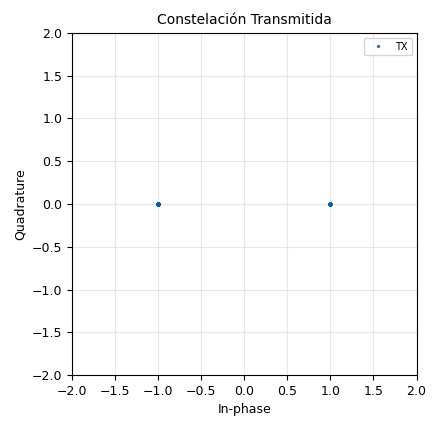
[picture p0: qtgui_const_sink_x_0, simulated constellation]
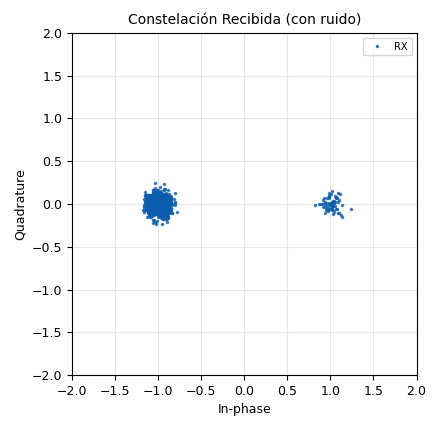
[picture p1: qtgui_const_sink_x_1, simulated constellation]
options:
  parameters:
    author: Diego Banda, Benjamin Polanco, Sebastian Gulfo
    comment: 'Laboratorio 4: BER en señalización de banda base - BPSK, QPSK, 8-PSK'
    description: Sistema para medir BER en modulaciones PSK con canal AWGN
    generate_options: qt_gui
    id: top_block
    output_language: python
    title: Laboratorio 4 - BER en Modulaciones PSK
  states: {}

blocks:
- name: samp_rate
  id: variable
  parameters:
    comment: Tasa de muestreo del sistema
    value: '32000'
  states: {}
- name: modulation_type
  id: variable_qtgui_chooser
  parameters:
    comment: Selector de tipo de modulación
    gui_hint: 0,0,1,1
    label: Tipo de Modulación
    label0: BPSK
    label1: QPSK
    label2: 8-PSK
    option0: '0'
    option1: '1'
    option2: '2'
    type: int
    value: '0'
  states: {}
- name: noise_voltage
  id: variable_qtgui_range
  parameters:
    comment: Control de amplitud de ruido para variar Eb/N0
    gui_hint: 0,1,1,1
    label: Amplitud de Ruido (Eb/N0 control)
    min: '0.001'
    max: '1.0'
    num_steps: '1000'
    style: slider
    value: '0.1'
  states: {}
- name: constellation_bpsk
  id: variable_constellation
  parameters:
    comment: Constelación BPSK
    const_points: '[-1, 1]'
    dims: '1'
    normalization: digital.constellation.AMPLITUDE_NORMALIZATION
    precision: '8'
    rot_sym: '2'
    sym_map: '[0, 1]'
  states: {}
- name: constellation_qpsk
  id: variable_constellation
  parameters:
    comment: Constelación QPSK con codificación Gray
    const_points: '[1+1j, -1+1j, -1-1j, 1-1j]'
    dims: '1'
    normalization: digital.constellation.AMPLITUDE_NORMALIZATION
    precision: '8'
    rot_sym: '4'
    sym_map: '[0, 1, 3, 2]'
  states: {}
- name: constellation_8psk
  id: variable_constellation
  parameters:
    comment: Constelación 8-PSK con codificación Gray
    const_points: '[1, 0.707+0.707j, 1j, -0.707+0.707j, -1, -0.707-0.707j, -1j, 0.707-0.707j]'
    dims: '1'
    normalization: digital.constellation.AMPLITUDE_NORMALIZATION
    precision: '8'
    rot_sym: '8'
    sym_map: '[0, 1, 3, 2, 6, 7, 5, 4]'
  states: {}
- name: constellation_selector
  id: variable
  parameters:
    comment: Selector automático de constelación basado en modulation_type
    value: constellation_bpsk if modulation_type == 0 else (constellation_qpsk if modulation_type == 1 else constellation_8psk)
  states: {}
- name: bits_per_symbol
  id: variable
  parameters:
    comment: Bits por símbolo según la modulación
    value: 1 if modulation_type == 0 else (2 if modulation_type == 1 else 3)
  states: {}
- name: arity
  id: variable
  parameters:
    comment: Aridad de la constelación (número de símbolos)
    value: 2 if modulation_type == 0 else (4 if modulation_type == 1 else 8)
  states: {}
- name: import_0
  id: import
  parameters:
    comment: Importaciones matemáticas y de comunicaciones digitales
    imports: import math, cmath, numpy as np
  states: {}
- name: analog_random_source_x_0
  id: analog_random_source_x
  parameters:
    comment: Generador de bits aleatorios para transmisión
    max: '2'
    min: '0'
    num_samps: '10000'
    repeat: 'True'
    type: byte
  states: {}
- name: blocks_packed_to_unpacked_xx_0
  id: blocks_packed_to_unpacked_xx
  parameters:
    bits_per_chunk: bits_per_symbol
    comment: Desempaqueta bits según la modulación seleccionada
    endianness: gr.GR_MSB_FIRST
    type: byte
  states: {}
- name: digital_chunks_to_symbols_xx_0
  id: digital_chunks_to_symbols_xx
  parameters:
    comment: Mapea grupos de bits a símbolos de constelación
    dimension: '1'
    in_type: byte
    out_type: complex
    symbol_table: constellation_selector.points()
  states: {}
- name: blocks_throttle2_0
  id: blocks_throttle2
  parameters:
    comment: Control de flujo de datos
    samples_per_second: samp_rate
    type: complex
  states: {}
- name: analog_noise_source_x_0
  id: analog_noise_source_x
  parameters:
    amp: noise_voltage
    comment: Fuente de ruido AWGN para simular canal
    noise_type: analog.GR_GAUSSIAN
    seed: '0'
    type: complex
  states: {}
- name: blocks_add_xx_0
  id: blocks_add_xx
  parameters:
    comment: Suma señal modulada + ruido AWGN
    type: complex
  states: {}
- name: digital_constellation_decoder_cb_0
  id: digital_constellation_decoder_cb
  parameters:
    comment: Decodificador de constelación para recuperar bits
    constellation: constellation_selector.base()
  states: {}
- name: blocks_unpacked_to_packed_xx_0
  id: blocks_unpacked_to_packed_xx
  parameters:
    bits_per_chunk: bits_per_symbol
    comment: Reempaqueta bits decodificados
    endianness: gr.GR_MSB_FIRST
    type: byte
  states: {}
- name: fec_ber_bf_0
  id: fec_ber_bf
  parameters:
    comment: Medidor de BER - compara bits transmitidos vs recibidos
    test_mode: 'False'
  states: {}
- name: qtgui_const_sink_x_0
  id: qtgui_const_sink_x
  parameters:
    comment: Constelación transmitida (sin ruido)
    grid: 'True'
    gui_hint: 1,0,2,1
    label1: TX
    name: '"Constelación Transmitida"'
    size: '1024'
    type: complex
  states: {}
- name: qtgui_const_sink_x_1
  id: qtgui_const_sink_x
  parameters:
    color1: '"red"'
    comment: Constelación recibida (con ruido)
    grid: 'True'
    gui_hint: 1,1,2,1
    label1: RX
    name: '"Constelación Recibida (con ruido)"'
    size: '1024'
    type: complex
  states: {}
- name: qtgui_number_sink_0
  id: qtgui_number_sink
  parameters:
    color1: ("red", "black")
    comment: Display de BER medido
    graph_type: qtgui.NUM_GRAPH_HORIZ
    gui_hint: 3,0,1,2
    label1: BER
    min: '0'
    name: '"Tasa de Error de Bit (BER)"'
    type: float
  states: {}

connections:
- [analog_random_source_x_0, '0', blocks_packed_to_unpacked_xx_0, '0']
- [blocks_packed_to_unpacked_xx_0, '0', digital_chunks_to_symbols_xx_0, '0']
- [digital_chunks_to_symbols_xx_0, '0', blocks_throttle2_0, '0']
- [blocks_throttle2_0, '0', blocks_add_xx_0, '0']
- [analog_noise_source_x_0, '0', blocks_add_xx_0, '1']
- [blocks_add_xx_0, '0', digital_constellation_decoder_cb_0, '0']
- [digital_constellation_decoder_cb_0, '0', blocks_unpacked_to_packed_xx_0, '0']
- [analog_random_source_x_0, '0', fec_ber_bf_0, '0']
- [blocks_unpacked_to_packed_xx_0, '0', fec_ber_bf_0, '1']
- [fec_ber_bf_0, '0', qtgui_number_sink_0, '0']
- [blocks_throttle2_0, '0', qtgui_const_sink_x_0, '0']
- [blocks_add_xx_0, '0', qtgui_const_sink_x_1, '0']

metadata:
  file_format: 1
  grc_version: 3.10.12.0
